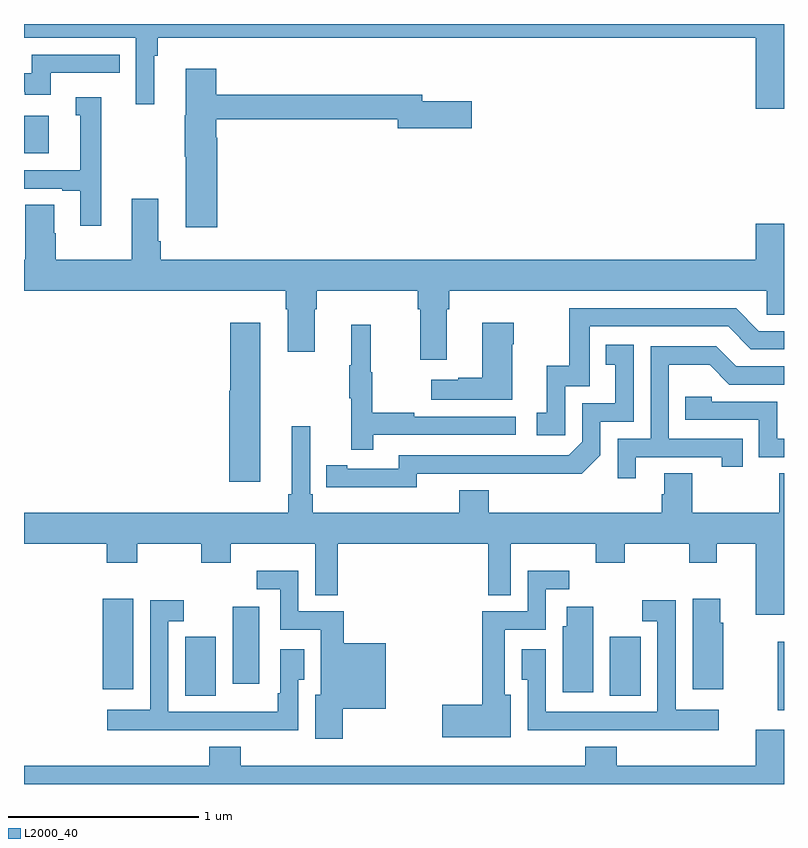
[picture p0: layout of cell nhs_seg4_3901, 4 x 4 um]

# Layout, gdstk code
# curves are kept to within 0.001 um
import gdstk
lib = gdstk.Library(unit=1e-6, precision=1e-09)
def R(c, l, rs):  # rectangles x0, y0, x1, y1
    for r in rs: c.add(gdstk.rectangle(r[:2], r[2:], *l))
def P(c, l, *ps):  # polygons
    for p in ps: c.add(gdstk.Polygon(p, *l))
L2000_40 = (2000, 40)

nhs_seg4_3901 = lib.new_cell('nhs_seg4_3901')
R(nhs_seg4_3901, L2000_40, [(320.966,785.289,321,785.648), (317.849,785.365,318.01,785.676), (320.084,785.365,320.245,785.676), (317.414,785.4,317.575,785.875), (318.098,785.427,318.238,785.833), (317,788.219,317.131,788.416)])
P(nhs_seg4_3901, L2000_40, [(321,788.9),(317,788.9),(317,788.828),(317.589,788.828),(317.589,788.478),(317.686,788.478),(317.686,788.732),(317.705,788.732),(317.705,788.828),(320.852,788.828),(320.852,788.454),(321,788.454)],
  [(317.14,788.643),(317.504,788.643),(317.504,788.739),(317.041,788.739),(317.041,788.64),(317,788.64),(317,788.544),(317.004,788.544),(317.004,788.528),(317.14,788.528)],
  [(318.016,788.301),(318.011,788.301),(318.011,788.398),(318.968,788.398),(318.968,788.351),(319.357,788.351),(319.357,788.493),(319.096,788.493),(319.096,788.527),(318.011,788.527),(318.011,788.665),(317.852,788.665),(317.852,788.421),(317.845,788.421),(317.845,788.201),(317.852,788.201),(317.852,787.83),(318.016,787.83)],
  [(317.407,788.515),(317.273,788.515),(317.273,788.421),(317.297,788.421),(317.297,788.13),(317,788.13),(317,788.034),(317.201,788.034),(317.201,788.022),(317.297,788.022),(317.297,787.839),(317.407,787.839)],
  [(318.377,787.4),(318.389,787.4),(318.389,787.176),(318.529,787.176),(318.529,787.4),(318.542,787.4),(318.542,787.496),(319.073,787.496),(319.073,787.4),(319.085,787.4),(319.085,787.134),(319.225,787.134),(319.225,787.4),(319.238,787.4),(319.238,787.496),(320.91,787.496),(320.91,787.369),(321,787.369),(321,787.849),(320.852,787.849),(320.852,787.66),(317.72,787.66),(317.72,787.756),(317.707,787.756),(317.707,787.981),(317.567,787.981),(317.567,787.66),(317.166,787.66),(317.166,787.799),(317.158,787.799),(317.158,787.949),(317.006,787.949),(317.006,787.66),(317,787.66),(317,787.496),(318.377,787.496)],
  [(319.848,786.993),(319.977,786.993),(319.977,787.308),(320.706,787.308),(320.826,787.188),(321,787.188),(321,787.284),(320.868,787.284),(320.748,787.404),(319.869,787.404),(319.869,787.102),(319.751,787.102),(319.751,786.855),(319.698,786.855),(319.698,786.735),(319.848,786.735)],
  [(318.244,787.327),(318.086,787.327),(318.086,786.969),(318.08,786.969),(318.08,786.492),(318.244,786.492)],
  [(319.57,787.214),(319.578,787.214),(319.578,787.327),(319.412,787.327),(319.412,787.037),(319.286,787.037),(319.286,787.027),(319.143,787.027),(319.143,786.923),(319.57,786.923)],
  [(318.839,786.738),(319.588,786.738),(319.588,786.834),(319.055,786.834),(319.055,786.854),(318.832,786.854),(318.832,787.068),(318.824,787.068),(318.824,787.318),(318.722,787.318),(318.722,787.105),(318.711,787.105),(318.711,786.931),(318.722,786.931),(318.722,786.66),(318.839,786.66)],
  [(319.068,786.534),(319.936,786.533),(320.034,786.63),(320.034,786.807),(320.208,786.807),(320.208,787.213),(320.062,787.213),(320.062,787.107),(320.111,787.107),(320.111,786.903),(319.938,786.903),(319.938,786.702),(319.866,786.63),(318.972,786.63),(318.972,786.558),(318.7,786.558),(318.7,786.578),(318.592,786.578),(318.592,786.462),(319.068,786.461)],
  [(320.221,786.621),(320.672,786.621),(320.672,786.57),(320.783,786.57),(320.783,786.717),(320.394,786.717),(320.394,787.106),(320.608,787.106),(320.712,787.002),(321,787.002),(321,787.098),(320.749,787.098),(320.644,787.203),(320.298,787.203),(320.298,786.717),(320.124,786.717),(320.124,786.51),(320.221,786.51)],
  [(321,786.717),(320.964,786.717),(320.964,786.912),(320.619,786.912),(320.619,786.939),(320.479,786.939),(320.479,786.816),(320.868,786.816),(320.868,786.621),(321,786.621)],
  [(321,786.536),(320.974,786.536),(320.974,786.328),(320.517,786.328),(320.517,786.536),(320.369,786.536),(320.369,786.426),(320.357,786.426),(320.357,786.328),(319.445,786.328),(319.445,786.445),(319.292,786.445),(319.292,786.328),(318.521,786.328),(318.521,786.424),(318.507,786.424),(318.507,786.784),(318.41,786.784),(318.41,786.424),(318.391,786.424),(318.391,786.328),(317,786.328),(317,786.164),(317.435,786.164),(317.435,786.065),(317.595,786.065),(317.595,786.164),(317.932,786.164),(317.932,786.065),(318.087,786.065),(318.087,786.164),(318.533,786.164),(318.533,785.893),(318.652,785.893),(318.652,786.164),(319.443,786.164),(319.443,785.893),(319.561,785.893),(319.561,786.164),(320.008,786.164),(320.008,786.065),(320.163,786.065),(320.163,786.164),(320.5,786.164),(320.5,786.065),(320.647,786.065),(320.647,786.164),(320.852,786.164),(320.852,785.79),(321,785.79)],
  [(318.677,785.297),(318.904,785.297),(318.904,785.641),(318.682,785.641),(318.682,785.808),(318.444,785.808),(318.444,786.022),(318.225,786.022),(318.225,785.925),(318.348,785.925),(318.348,785.712),(318.563,785.712),(318.563,785.371),(318.533,785.371),(318.533,785.139),(318.677,785.139)],
  [(319.561,785.371),(319.531,785.371),(319.531,785.712),(319.746,785.712),(319.746,785.925),(319.87,785.925),(319.87,786.022),(319.65,786.022),(319.65,785.808),(319.413,785.808),(319.413,785.318),(319.2,785.318),(319.2,785.147),(319.561,785.147)],
  [(320.68,785.748),(320.665,785.748),(320.665,785.875),(320.519,785.875),(320.519,785.4),(320.68,785.4)],
  [(317.857,785.184),(318.223,785.184),(318.223,785.183),(318.444,785.183),(318.444,785.449),(318.475,785.449),(318.475,785.608),(318.348,785.608),(318.348,785.377),(318.336,785.377),(318.336,785.281),(318.106,785.281),(318.106,785.28),(317.76,785.28),(317.76,785.757),(317.842,785.757),(317.842,785.866),(317.664,785.866),(317.664,785.29),(317.439,785.29),(317.439,785.183),(317.857,785.183)],
  [(319.871,785.184),(320.237,785.184),(320.237,785.183),(320.656,785.183),(320.656,785.29),(320.43,785.29),(320.43,785.866),(320.253,785.866),(320.253,785.757),(320.334,785.757),(320.334,785.28),(319.746,785.28),(319.746,785.608),(319.619,785.608),(319.619,785.449),(319.65,785.449),(319.65,785.183),(319.871,785.183)],
  [(319.996,785.833),(319.856,785.833),(319.856,785.73),(319.835,785.73),(319.835,785.382),(319.996,785.382)],
  [(321,785.185),(320.852,785.185),(320.852,784.996),(320.12,784.996),(320.12,785.095),(319.955,785.095),(319.955,784.996),(318.14,784.996),(318.14,785.095),(317.975,785.095),(317.975,784.996),(317,784.996),(317,784.9),(321,784.9)])

lib.write_gds('nhs_seg4_3901.gds')
